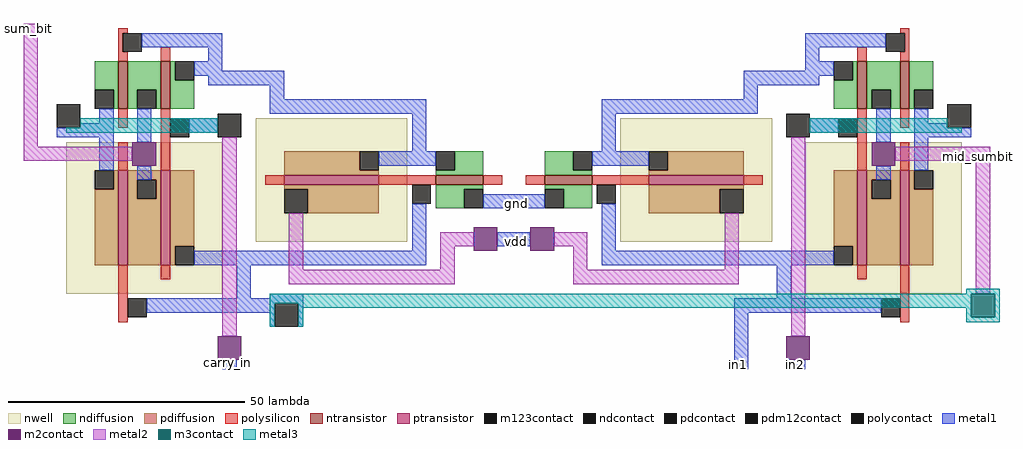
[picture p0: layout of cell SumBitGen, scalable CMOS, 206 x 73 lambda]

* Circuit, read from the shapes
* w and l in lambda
.subckt SumBitGen carry_in gnd in1 in2 mid_sumbit sum_bit vdd
M1 sum_bit n1 carry_in VSUBS nfet w=10 l=2
M2 n1 carry_in sum_bit VSUBS nfet w=10 l=2
M3 n1 mid_sumbit gnd VSUBS nfet w=10 l=2
M4 n2 in1 gnd VSUBS nfet w=10 l=2
M5 mid_sumbit in2 n2 VSUBS nfet w=10 l=2
M6 in2 n2 mid_sumbit VSUBS nfet w=10 l=2
M7 sum_bit mid_sumbit carry_in n3 pfet w=20 l=2
M8 mid_sumbit carry_in sum_bit n3 pfet w=20 l=2
M9 n1 mid_sumbit vdd n4 pfet w=20 l=2
M10 n2 in1 vdd n5 pfet w=20 l=2
M11 mid_sumbit in2 in1 n6 pfet w=20 l=2
M12 in2 in1 mid_sumbit n6 pfet w=20 l=2
.ends

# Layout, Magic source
magic
tech scmos
<< nwell >>
rect -94 -167 -61 -135
rect -54 -156 -22 -130
rect 23 -156 55 -130
rect 62 -167 95 -135
<< ntransistor >>
rect -83 -128 -81 -118
rect -74 -128 -72 -118
rect 73 -128 75 -118
rect 82 -128 84 -118
rect -16 -144 -6 -142
rect 7 -144 17 -142
<< ptransistor >>
rect -83 -161 -81 -141
rect -74 -161 -72 -141
rect -48 -144 -28 -142
rect 29 -144 49 -142
rect 73 -161 75 -141
rect 82 -161 84 -141
<< ndiffusion >>
rect -88 -124 -83 -118
rect -84 -128 -83 -124
rect -81 -124 -74 -118
rect -81 -128 -79 -124
rect -75 -128 -74 -124
rect -72 -122 -71 -118
rect -72 -128 -67 -122
rect 72 -122 73 -118
rect 68 -128 73 -122
rect 75 -124 82 -118
rect 75 -128 76 -124
rect 80 -128 82 -124
rect 84 -124 89 -118
rect 84 -128 85 -124
rect -12 -141 -6 -137
rect -16 -142 -6 -141
rect 7 -141 13 -137
rect 7 -142 17 -141
rect -16 -145 -6 -144
rect -16 -149 -10 -145
rect 7 -145 17 -144
rect 11 -149 17 -145
<< pdiffusion >>
rect -48 -141 -32 -137
rect -84 -145 -83 -141
rect -88 -161 -83 -145
rect -81 -143 -74 -141
rect -81 -147 -79 -143
rect -75 -147 -74 -143
rect -81 -161 -74 -147
rect -72 -157 -67 -141
rect -48 -142 -28 -141
rect 33 -141 49 -137
rect 29 -142 49 -141
rect -48 -145 -28 -144
rect -43 -150 -28 -145
rect 29 -145 49 -144
rect 29 -150 44 -145
rect -72 -161 -71 -157
rect 68 -157 73 -141
rect 72 -161 73 -157
rect 75 -143 82 -141
rect 75 -147 76 -143
rect 80 -147 82 -143
rect 75 -161 82 -147
rect 84 -145 85 -141
rect 84 -161 89 -145
<< ndcontact >>
rect -88 -128 -84 -124
rect -79 -128 -75 -124
rect -71 -122 -67 -118
rect 68 -122 72 -118
rect 76 -128 80 -124
rect 85 -128 89 -124
rect -16 -141 -12 -137
rect 13 -141 17 -137
rect -10 -149 -6 -145
rect 7 -149 11 -145
<< pdcontact >>
rect -32 -141 -28 -137
rect -88 -145 -84 -141
rect -79 -147 -75 -143
rect 29 -141 33 -137
rect -71 -161 -67 -157
rect 68 -161 72 -157
rect 76 -147 80 -143
rect 85 -145 89 -141
<< polysilicon >>
rect -83 -112 -81 -111
rect 82 -112 84 -111
rect -83 -116 -82 -112
rect -83 -118 -81 -116
rect -74 -118 -72 -115
rect 73 -118 75 -115
rect 83 -116 84 -112
rect 82 -118 84 -116
rect -83 -132 -81 -128
rect -83 -141 -81 -135
rect -74 -141 -72 -128
rect 73 -141 75 -128
rect 82 -132 84 -128
rect 82 -141 84 -135
rect -52 -144 -48 -142
rect -28 -144 -16 -142
rect -6 -144 -2 -142
rect 3 -144 7 -142
rect 17 -144 29 -142
rect 49 -144 53 -142
rect -83 -173 -81 -161
rect -74 -164 -72 -161
rect 73 -164 75 -161
rect 82 -173 84 -161
<< polycontact >>
rect -82 -116 -78 -112
rect 79 -116 83 -112
rect -72 -134 -68 -130
rect 69 -134 73 -130
rect -21 -148 -17 -144
rect 18 -148 22 -144
rect -81 -172 -77 -168
rect 78 -172 82 -168
<< metal1 >>
rect -78 -115 -61 -112
rect -64 -118 -61 -115
rect -67 -120 -61 -118
rect 62 -115 79 -112
rect 62 -118 65 -115
rect 62 -120 68 -118
rect -67 -121 -48 -120
rect -64 -123 -48 -121
rect -87 -131 -84 -128
rect -91 -132 -84 -131
rect -96 -134 -84 -132
rect -87 -141 -84 -134
rect -51 -126 -48 -123
rect 49 -121 68 -120
rect 49 -123 65 -121
rect 49 -126 52 -123
rect -79 -135 -76 -128
rect -51 -129 -18 -126
rect -68 -133 -62 -130
rect -21 -137 -18 -129
rect 19 -129 52 -126
rect 19 -137 22 -129
rect 63 -133 69 -130
rect 77 -135 80 -128
rect 85 -131 88 -128
rect 85 -132 92 -131
rect 85 -134 97 -132
rect -79 -143 -76 -140
rect -28 -140 -16 -137
rect 17 -140 29 -137
rect 77 -143 80 -140
rect -21 -158 -18 -148
rect -6 -149 7 -146
rect -3 -157 4 -154
rect 19 -158 22 -148
rect 85 -141 88 -134
rect -67 -161 -18 -158
rect 19 -161 68 -158
rect -58 -168 -55 -161
rect -51 -168 -44 -167
rect 56 -168 59 -161
rect -77 -169 -44 -168
rect -77 -171 -50 -169
rect -51 -174 -50 -171
rect -45 -174 -44 -169
rect 47 -171 78 -168
rect -61 -183 -58 -181
rect 47 -183 50 -171
rect 59 -183 62 -181
<< m2contact >>
rect -80 -140 -75 -135
rect 76 -140 81 -135
rect -8 -158 -3 -153
rect 4 -158 9 -153
rect -62 -181 -57 -176
rect 58 -181 63 -176
<< pdm12contact >>
rect -48 -150 -43 -145
rect 44 -150 49 -145
<< metal2 >>
rect -103 -136 -100 -110
rect -103 -139 -80 -136
rect -61 -176 -58 -134
rect -47 -162 -44 -150
rect -15 -157 -8 -154
rect -15 -162 -12 -157
rect 9 -157 16 -154
rect -47 -165 -12 -162
rect 13 -162 16 -157
rect 45 -162 48 -150
rect 13 -165 48 -162
rect 59 -176 62 -134
rect 81 -139 101 -136
rect 98 -167 101 -139
<< m3contact >>
rect 97 -172 102 -167
<< m123contact >>
rect -96 -132 -91 -127
rect -62 -134 -57 -129
rect 58 -134 63 -129
rect 92 -132 97 -127
rect -50 -174 -45 -169
<< metal3 >>
rect -91 -132 -62 -130
rect -94 -133 -62 -132
rect 63 -132 92 -130
rect 63 -133 95 -132
rect 96 -167 103 -166
rect -51 -169 97 -167
rect -51 -174 -50 -169
rect -45 -170 97 -169
rect -45 -174 -44 -170
rect 96 -172 97 -170
rect 102 -172 103 -167
rect 96 -173 103 -172
<< labels >>
rlabel metal1 48 -182 48 -182 1 in1
rlabel metal1 60 -182 60 -182 1 in2
rlabel metal1 1 -156 1 -156 7 vdd
rlabel metal1 1 -148 1 -148 7 gnd
rlabel metal2 98 -138 99 -138 7 mid_sumbit
rlabel metal1 -61 -183 -59 -180 1 carry_in
rlabel metal2 -102 -111 -102 -111 3 sum_bit
<< end >>
